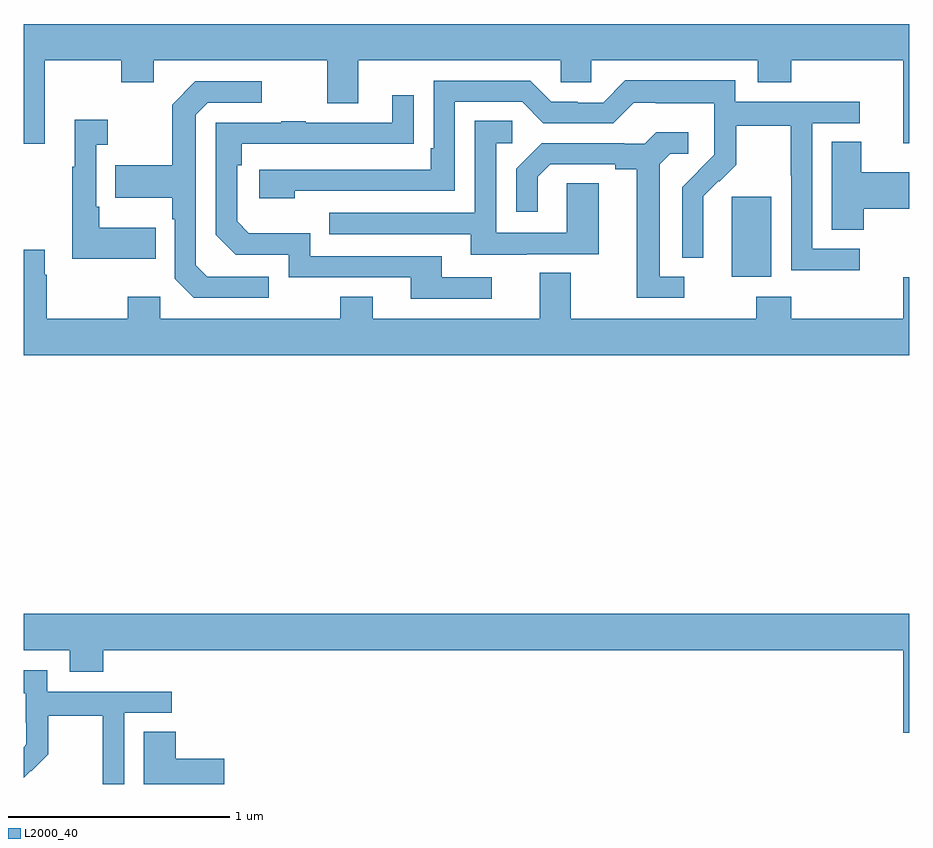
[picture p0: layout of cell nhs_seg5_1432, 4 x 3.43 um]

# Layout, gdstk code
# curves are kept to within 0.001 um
import gdstk
lib = gdstk.Library(unit=1e-6, precision=1e-09)
def R(c, l, rs):  # rectangles x0, y0, x1, y1
    for r in rs: c.add(gdstk.rectangle(r[:2], r[2:], *l))
def P(c, l, *ps):  # polygons
    for p in ps: c.add(gdstk.Polygon(p, *l))
L2000_40 = (2000, 40)

nhs_seg5_1432 = lib.new_cell('nhs_seg5_1432')
R(nhs_seg5_1432, L2000_40, [(200.198,881.09,200.377,881.451)])
P(nhs_seg5_1432, L2000_40, [(197.095,882.068),(197.44,882.068),(197.44,881.969),(197.587,881.969),(197.587,882.068),(198.371,882.068),(198.371,881.874),(198.511,881.874),(198.511,882.068),(199.425,882.068),(199.425,881.97),(199.563,881.97),(199.563,882.068),(200.315,882.068),(200.315,881.969),(200.468,881.969),(200.468,882.068),(200.972,882.068),(200.972,881.694),(201,881.694),(201,882.232),(197,882.232),(197,881.691),(197.095,881.691)],
  [(200.776,881.217),(200.562,881.217),(200.562,881.784),(200.776,881.784),(200.776,881.88),(200.214,881.88),(200.214,881.977),(199.717,881.977),(199.617,881.877),(199.502,881.877),(199.502,881.88),(199.383,881.88),(199.287,881.976),(198.852,881.976),(198.852,881.671),(198.839,881.671),(198.839,881.574),(198.063,881.574),(198.063,881.444),(198.224,881.444),(198.224,881.478),(198.948,881.478),(198.948,881.88),(199.251,881.88),(199.347,881.784),(199.662,881.784),(199.755,881.877),(199.855,881.877),(199.855,881.873),(200.118,881.873),(200.118,881.739),(200.12,881.739),(200.12,881.642),(199.974,881.494),(199.974,881.176),(200.07,881.176),(200.069,881.453),(200.139,881.523),(200.142,881.52),(200.219,881.597),(200.219,881.772),(200.464,881.772),(200.464,881.548),(200.466,881.548),(200.466,881.119),(200.776,881.119)],
  [(198.106,881.091),(197.829,881.091),(197.778,881.142),(197.778,881.823),(197.832,881.877),(198.076,881.877),(198.076,881.973),(197.775,881.973),(197.67,881.867),(197.67,881.595),(197.413,881.595),(197.413,881.447),(197.67,881.447),(197.67,881.351),(197.682,881.351),(197.682,881.082),(197.769,880.995),(198.106,880.995)],
  [(199.114,881.088),(198.889,881.088),(198.889,881.184),(198.294,881.184),(198.294,881.287),(198.017,881.287),(197.964,881.34),(197.964,881.594),(197.984,881.594),(197.984,881.691),(198.761,881.692),(198.761,881.911),(198.665,881.911),(198.665,881.787),(198.275,881.787),(198.275,881.792),(198.163,881.792),(198.163,881.787),(197.868,881.787),(197.868,881.28),(197.958,881.19),(198.198,881.19),(198.198,881.088),(198.749,881.088),(198.749,880.992),(199.114,880.992)],
  [(197.597,881.311),(197.341,881.311),(197.341,881.407),(197.328,881.407),(197.328,881.687),(197.38,881.687),(197.38,881.8),(197.231,881.8),(197.231,881.587),(197.22,881.587),(197.22,881.171),(197.597,881.171)],
  [(199.273,881.193),(199.597,881.193),(199.597,881.513),(199.452,881.513),(199.452,881.289),(199.134,881.289),(199.134,881.694),(199.207,881.694),(199.207,881.795),(199.038,881.795),(199.038,881.379),(198.379,881.379),(198.379,881.283),(199.019,881.283),(199.019,881.189),(199.273,881.189)],
  [(199.984,881.091),(199.873,881.091),(199.873,881.599),(199.92,881.646),(200.002,881.646),(200.002,881.743),(199.858,881.743),(199.806,881.691),(199.712,881.691),(199.712,881.694),(199.34,881.694),(199.224,881.578),(199.224,881.385),(199.321,881.385),(199.321,881.541),(199.378,881.598),(199.673,881.598),(199.673,881.576),(199.769,881.576),(199.769,880.995),(199.984,880.995)],
  [(200.795,881.398),(201,881.398),(201,881.563),(200.782,881.563),(200.782,881.699),(200.651,881.699),(200.651,881.302),(200.795,881.302)],
  [(201,881.089),(200.972,881.089),(200.972,880.9),(200.468,880.9),(200.468,880.999),(200.308,880.999),(200.308,880.9),(199.471,880.9),(199.471,881.108),(199.331,881.108),(199.331,880.9),(198.577,880.9),(198.577,880.999),(198.43,880.999),(198.43,880.9),(197.616,880.9),(197.616,880.999),(197.47,880.999),(197.47,880.9),(197.103,880.9),(197.103,881.099),(197.095,881.099),(197.095,881.212),(197,881.212),(197,880.736),(201,880.736)],
  [(201,879.568),(197,879.568),(197,879.404),(197.207,879.404),(197.207,879.305),(197.36,879.305),(197.36,879.404),(200.972,879.404),(200.972,879.03),(201,879.03)],
  [(197.454,879.12),(197.668,879.12),(197.668,879.216),(197.106,879.216),(197.106,879.313),(197,879.313),(197,879.209),(197.01,879.209),(197.01,879.075),(197.012,879.075),(197.012,878.978),(197,878.966),(197,878.828),(197.031,878.859),(197.034,878.856),(197.111,878.933),(197.111,879.108),(197.356,879.108),(197.356,878.884),(197.358,878.884),(197.358,878.799),(197.454,878.799)],
  [(197.905,878.912),(197.687,878.912),(197.687,879.035),(197.543,879.035),(197.543,878.799),(197.905,878.799)])

lib.write_gds('nhs_seg5_1432.gds')
